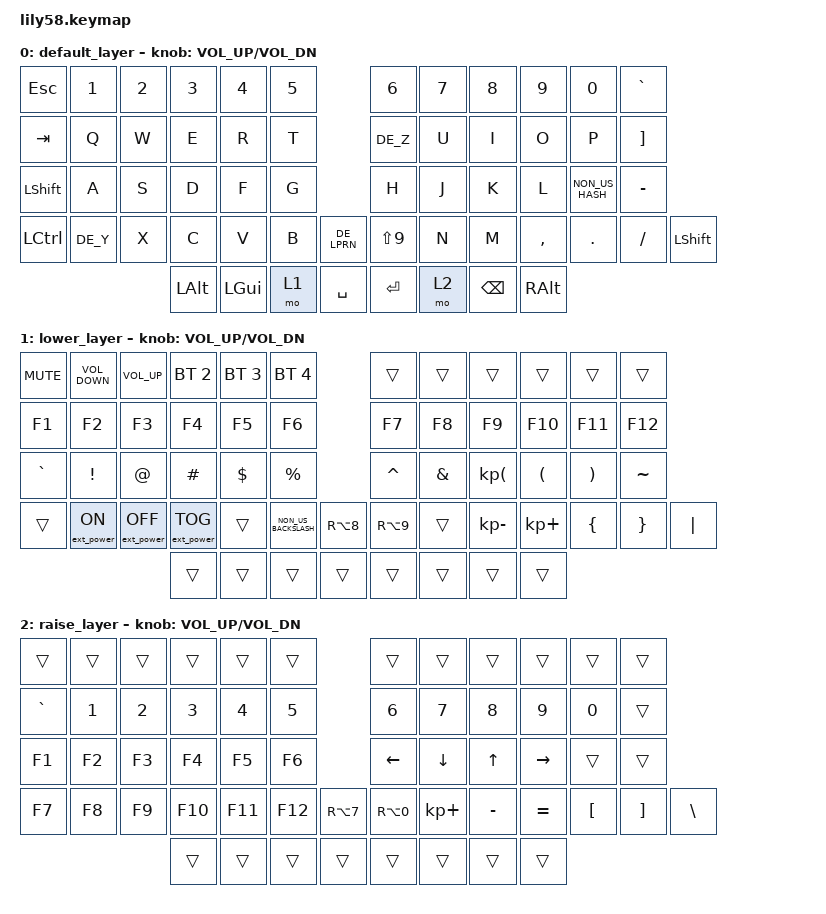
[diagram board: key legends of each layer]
/*
 * Copyright (c) 2020 The ZMK Contributors
 *
 * SPDX-License-Identifier: MIT
 */

#include <behaviors.dtsi>
#include <dt-bindings/zmk/keys.h>
#include <dt-bindings/zmk/bt.h>
#include <dt-bindings/zmk/ext_power.h>
#include "german-keymap.h"

/ {
	keymap {
		compatible = "zmk,keymap";

		default_layer {

/* QWERTY
 * ,-----------------------------------------.                    ,-----------------------------------------.
 * | ESC  |   1  |   2  |   3  |   4  |   5  |                    |   6  |   7  |   8  |   9  |   0  |  ^   |
 * |------+------+------+------+------+------|                    |------+------+------+------+------+------|
 * | Tab  |   Q  |   W  |   E  |   R  |   T  |                    |   Z  |   U  |   I  |   O  |   P  |  +   |
 * |------+------+------+------+------+------|                    |------+------+------+------+------+------|
 * |LSHIFT|   A  |   S  |   D  |   F  |   G  |-------.    ,-------|   H  |   J  |   K  |   L  |   #  |  ß   |
 * |------+------+------+------+------+------|   (   |    |    )  |------+------+------+------+------+------|
 * |LCTRL |   Y  |   X  |   C  |   V  |   B  |-------|    |-------|   N  |   M  |   ,  |   .  |   -  | Shift|
 * `-----------------------------------------/       /     \      \-----------------------------------------'
 *                   |LAlt  | GUT  | LOWER| /Space /       \Enter \  |RAISE | BPC | Alt Gr |
 *                   |      |      |      |/       /        \      \ |      |      |        |
 *                   `----------------------------'           '------''--------------------'
 */
			bindings = <
&kp ESC    &kp N1 &kp N2 &kp N3   &kp N4   &kp N5                     &kp N6 &kp N7   &kp N8    &kp N9  &kp N0   &kp GRAVE
&kp TAB    &kp Q  &kp W  &kp E    &kp R    &kp T                      &kp DE_Z  &kp U    &kp I     &kp O   &kp P    &kp RBKT
&kp LEFT_SHIFT &kp A  &kp S  &kp D    &kp F    &kp G                      &kp H  &kp J    &kp K     &kp L   &kp NON_US_HASH &kp MINUS
&kp LCTRL  &kp DE_Y  &kp X  &kp C    &kp V    &kp B  &kp DE_LPRN   &kp LS(N9) &kp N  &kp M    &kp COMMA &kp DOT &kp FSLH &kp LEFT_SHIFT
                        &kp LALT &kp LGUI &mo 1  &kp SPACE  &kp RET  &mo 2  &kp BACKSPACE &kp RIGHT_ALT
			>;

			sensor-bindings = <&inc_dec_kp C_VOL_UP C_VOL_DN>;
		};

		lower_layer {

/* QWERTY
 * ,-----------------------------------------.                    ,-----------------------------------------.
 * | mute | vol- | vol+ |                    |                    |                                         |
 * |------+------+------+------+------+------|                    |------+------+------+------+------+------|
 * | F1   |   F2 |  F3  |   F4 |   F5 |   F6 |                    |   F7 |   F8 |   F9 |   F10|  F11 |  F12 |
 * |------+------+------+------+------+------|                    |------+------+------+------+------+------|
 * |   ^  |   !  |   "  |   §  |   $  |   %  |-------.    ,-------|   &  |   /  |   (  |   )  |   =  |  ~   |
 * |------+------+------+------+------+------|   [   |    |    ]  |------+------+------+------+------+------|
 * |                                      <  |-------|    |-------|      |   -  |   +  |  {   |  }   | "|"  |
 * `-----------------------------------------/       /     \      \-----------------------------------------'
 *                   |LAlt  | GUT  | LOWER| /Space /       \Enter \  |RAISE | BPC | Alt Gr |
 *                   |      |      |      |/       /        \      \ |      |      |        |
 *                   `----------------------------'           '------''--------------------'
 */
			bindings = <
&kp K_MUTE &kp K_VOLUME_DOWN     &kp K_VOLUME_UP     &bt BT_SEL 2      &bt BT_SEL 3 &bt BT_SEL 4            &trans    &trans    &trans          &trans    &trans    &trans
&kp F1     &kp F2           &kp F3            &kp F4            &kp F5       &kp F6                  &kp F7    &kp F8    &kp F9          &kp F10   &kp F11   &kp F12
&kp GRAVE  &kp EXCL         &kp AT            &kp HASH          &kp DOLLAR   &kp PRCNT               &kp CARET &kp AMPS  &kp KP_LEFT_PARENTHESIS &kp LPAR  &kp RPAR  &kp TILDE
&trans     &ext_power EP_ON &ext_power EP_OFF &ext_power EP_TOG &trans       &kp NON_US_BACKSLASH    &kp RA(N8)   &kp RA(N9)    &trans    &kp KP_MINUS &kp KP_PLUS     &kp LBRC  &kp RBRC  &kp PIPE
                                              &trans            &trans       &trans    &trans   &trans    &trans    &trans    &trans
			>;

			sensor-bindings = <&inc_dec_kp C_VOL_UP C_VOL_DN>;
		};

		raise_layer {
/* QWERTY
 * ,-----------------------------------------.                    ,-----------------------------------------.
 * |                                         |                    |                                         |
 * |------+------+------+------+------+------|                    |------+------+------+------+------+------|
 * |   `  |   1  |   2  |  3   |  4   |  5   |                    | 6    |  7   |  8   |  9   |   0  |
 * |------+------+------+------+------+------|                    |------+------+------+------+------+------|
 * |   F1 |  F2  |  F3  |  F4  |  F5  |  F6  |-------.    ,-------|  <-  |   v  |  ^   |  ->  |      |      |
 * |------+------+------+------+------+------|   {   |    |    }  |------+------+------+------+------+------|
 * |   F7 |  F 8 |  F9  |  F10 |  F11 |  F1  |-------|    |-------|   +  |   -  |   =  |  [   |  ]   |  \   |
 * `-----------------------------------------/       /     \      \-----------------------------------------'
 *                   |LAlt  | GUT  | LOWER| /Space /       \Enter \  |RAISE | BPC | Alt Gr |
 *                   |      |      |      |/       /        \      \ |      |     |        |
 *                   `----------------------------'           '------''--------------------'
 */
			bindings = <
&trans    &trans &trans &trans  &trans  &trans                       &trans      &trans    &trans    &trans     &trans    &trans
&kp GRAVE &kp N1 &kp N2 &kp N3  &kp N4  &kp N5                       &kp N6      &kp N7    &kp N8    &kp N9     &kp N0    &trans
&kp F1    &kp F2 &kp F3 &kp F4  &kp F5  &kp F6                       &kp LEFT    &kp DOWN  &kp UP    &kp RIGHT  &trans    &trans
&kp F7    &kp F8 &kp F9 &kp F10 &kp F11 &kp F12   &kp RA(N7)   &kp RA(N0)    &kp KP_PLUS &kp MINUS &kp EQUAL &kp LBKT &kp RBKT  &kp BSLH
                        &trans  &trans  &trans    &trans   &trans    &trans      &trans    &trans
			>;

			sensor-bindings = <&inc_dec_kp C_VOL_UP C_VOL_DN>;
		};
	};
};
